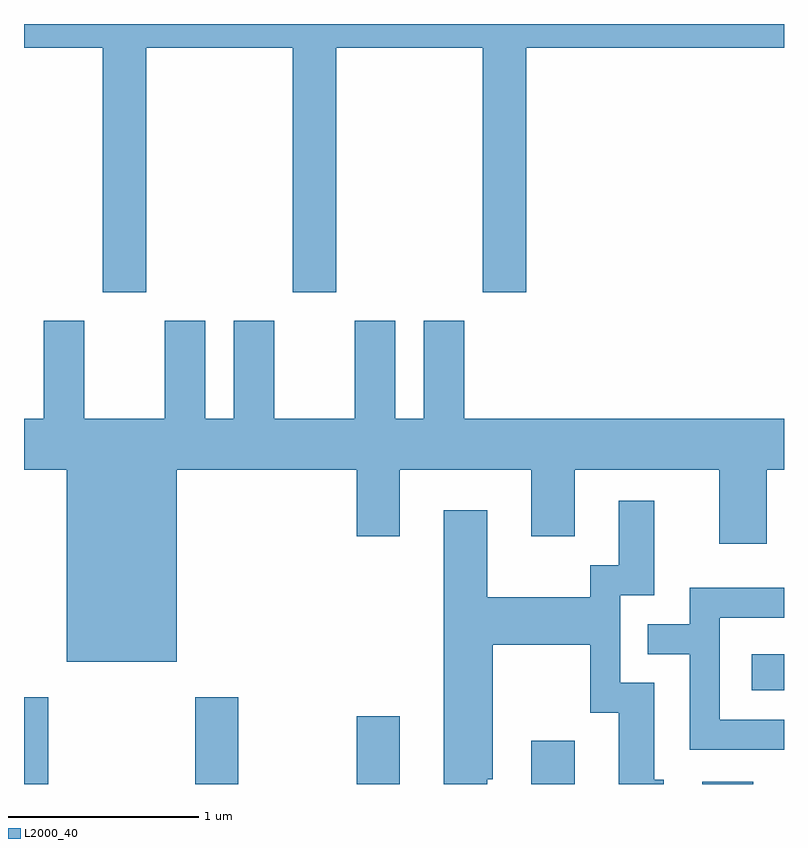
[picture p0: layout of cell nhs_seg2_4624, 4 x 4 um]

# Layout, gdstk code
import gdstk
lib = gdstk.Library(unit=1e-6, precision=1e-09)
def R(c, l, rs):  # rectangles x0, y0, x1, y1
    for r in rs: c.add(gdstk.rectangle(r[:2], r[2:], *l))
def P(c, l, *ps):  # polygons
    for p in ps: c.add(gdstk.Polygon(p, *l))
L2000_40 = (2000, 40)

nhs_seg2_4624 = lib.new_cell('nhs_seg2_4624')
R(nhs_seg2_4624, L2000_40, [(321.611,1017.802,321.739,1018.259), (322.511,1017.802,322.739,1018.259), (323.361,1017.802,323.589,1018.159), (324.281,1017.802,324.509,1018.029), (325.181,1017.802,325.449,1017.814), (325.441,1018.296,325.611,1018.484)])
P(nhs_seg2_4624, L2000_40, [(322.254,1021.676),(323.026,1021.676),(323.026,1020.391),(323.254,1020.391),(323.254,1021.676),(324.026,1021.676),(324.026,1020.391),(324.254,1020.391),(324.254,1021.676),(325.611,1021.676),(325.611,1021.802),(321.611,1021.802),(321.611,1021.676),(322.026,1021.676),(322.026,1020.391),(322.254,1020.391)],
  [(322.414,1019.456),(323.361,1019.456),(323.361,1019.106),(323.589,1019.106),(323.589,1019.456),(324.281,1019.456),(324.281,1019.106),(324.509,1019.106),(324.509,1019.456),(325.271,1019.456),(325.271,1019.066),(325.519,1019.066),(325.519,1019.456),(325.611,1019.456),(325.611,1019.724),(323.929,1019.724),(323.929,1020.239),(323.716,1020.239),(323.716,1019.724),(323.564,1019.724),(323.564,1020.239),(323.351,1020.239),(323.351,1019.724),(322.929,1019.724),(322.929,1020.239),(322.716,1020.239),(322.716,1019.724),(322.564,1019.724),(322.564,1020.239),(322.351,1020.239),(322.351,1019.724),(321.929,1019.724),(321.929,1020.239),(321.716,1020.239),(321.716,1019.724),(321.611,1019.724),(321.611,1019.456),(321.836,1019.456),(321.836,1018.446),(322.414,1018.446)],
  [(324.049,1017.826),(324.079,1017.826),(324.079,1018.536),(324.591,1018.536),(324.591,1018.176),(324.741,1018.176),(324.741,1017.802),(324.978,1017.802),(324.978,1017.824),(324.929,1017.824),(324.929,1018.334),(324.749,1018.334),(324.749,1018.796),(324.929,1018.796),(324.929,1019.294),(324.741,1019.294),(324.741,1018.954),(324.591,1018.954),(324.591,1018.784),(324.049,1018.784),(324.049,1019.244),(323.821,1019.244),(323.821,1017.802),(324.049,1017.802)],
  [(325.611,1018.139),(325.274,1018.139),(325.274,1018.676),(325.611,1018.676),(325.611,1018.834),(325.116,1018.834),(325.116,1018.644),(324.893,1018.644),(324.893,1018.486),(325.116,1018.486),(325.116,1017.981),(325.611,1017.981)])

lib.write_gds('nhs_seg2_4624.gds')
